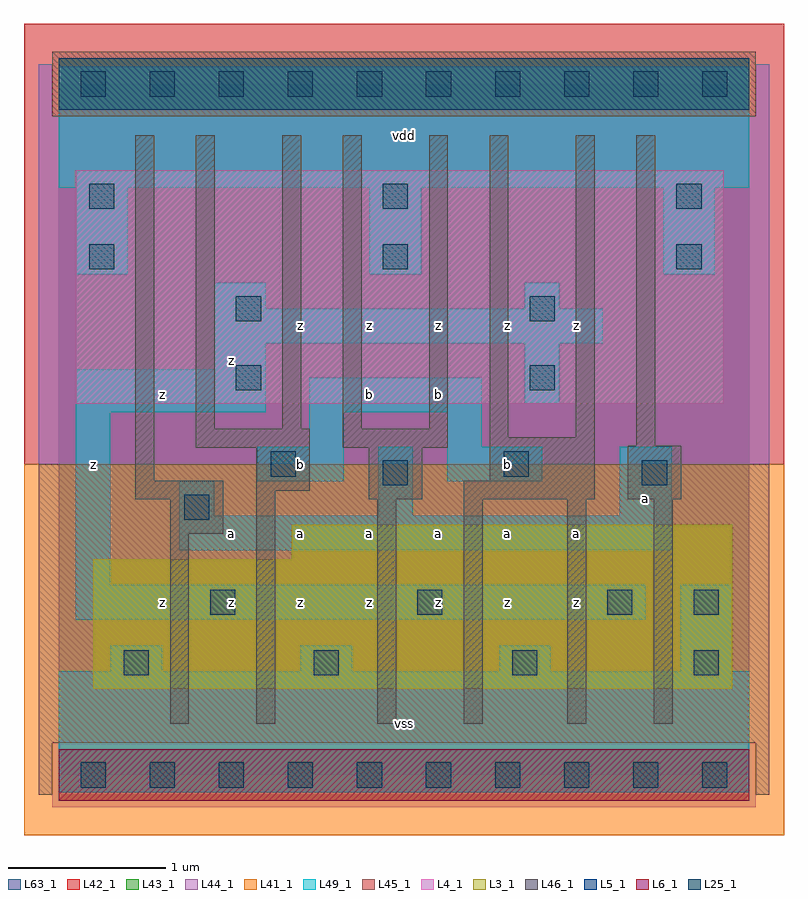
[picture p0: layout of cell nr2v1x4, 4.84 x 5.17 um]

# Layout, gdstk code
import gdstk
lib = gdstk.Library(unit=1e-6, precision=1e-09)
def R(c, l, rs):  # rectangles x0, y0, x1, y1
    for r in rs: c.add(gdstk.rectangle(r[:2], r[2:], *l))
def A(c, l, x, y, w, h, nx, ny, dx, dy):  # array of equal rectangles
    R(c, l, [(x+i*dx, y+j*dy, x+i*dx+w, y+j*dy+h) for i in range(nx) for j in range(ny)])
L3_1 = (3, 1)
L4_1 = (4, 1)
L5_1 = (5, 1)
L6_1 = (6, 1)
L25_1 = (25, 1)
L41_1 = (41, 1)
L42_1 = (42, 1)
L43_1 = (43, 1)
L44_1 = (44, 1)
L45_1 = (45, 1)
L46_1 = (46, 1)
L49_1 = (49, 1)
L63_1 = (63, 1)

nr2v1x4 = lib.new_cell('nr2v1x4')
R(nr2v1x4, L3_1, [(0.22,0.55,4.29,1.375), (1.485,1.375,4.29,1.595)])
R(nr2v1x4, L4_1, [(0.11,2.365,4.235,3.85)])
R(nr2v1x4, L5_1, [(0,4.235,4.4,4.565)])
R(nr2v1x4, L6_1, [(0,-0.165,4.4,0.165)])
A(nr2v1x4, L25_1, 0.14, -0.08, 0.16, 0.16, 10, 2, 0.44, 4.4)
A(nr2v1x4, L25_1, 0.195, 3.22, 0.16, 0.16, 3, 2, 1.87, 0.385)
R(nr2v1x4, L25_1, [(0.415,0.635,0.575,0.795), (1.625,0.635,1.785,0.795), (2.89,0.635,3.05,0.795), (4.045,0.635,4.205,0.795), (0.965,1.02,1.125,1.18), (2.285,1.02,2.445,1.18), (3.495,1.02,3.655,1.18), (4.045,1.02,4.205,1.18), (0.8,1.625,0.96,1.785), (2.065,1.845,2.225,2.005), (3.715,1.845,3.875,2.005), (1.35,1.9,1.51,2.06), (2.835,1.9,2.995,2.06), (1.13,2.45,1.29,2.61), (3,2.45,3.16,2.61), (1.13,2.89,1.29,3.05), (3,2.89,3.16,3.05)])
R(nr2v1x4, L41_1, [(-0.22,-0.385,4.62,1.98)])
R(nr2v1x4, L42_1, [(-0.22,1.98,4.62,4.785)])
R(nr2v1x4, L43_1, [(0,-0.165,4.4,0.165), (0.22,0.55,4.29,1.375), (1.485,1.375,4.29,1.595), (0.11,2.365,4.235,3.85), (0,4.235,4.4,4.565)])
R(nr2v1x4, L44_1, [(-0.04,-0.205,4.44,0.205), (-0.125,1.98,4.525,4.195), (-0.125,4.195,-0.04,4.525), (4.44,4.195,4.525,4.525)])
R(nr2v1x4, L45_1, [(-0.125,-0.125,-0.04,0.205), (4.44,-0.125,4.525,0.205), (-0.125,0.205,4.525,1.98), (-0.04,4.195,4.44,4.605)])
R(nr2v1x4, L46_1, [(0.71,0.325,0.83,1.535), (1.26,0.325,1.38,1.81), (2.03,0.325,2.15,1.755), (2.58,0.325,2.7,1.755), (3.24,0.325,3.36,1.755), (3.79,0.325,3.91,1.755), (0.71,1.535,1.05,1.755), (0.49,1.755,1.05,1.875), (1.975,1.755,2.315,2.085), (2.58,1.755,3.415,1.875), (3.625,1.755,3.965,2.095), (1.26,1.81,1.6,2.085), (0.49,1.875,0.61,4.075), (2.745,1.875,3.415,2.15), (0.875,2.085,1.6,2.205), (1.81,2.085,2.48,2.205), (3.68,2.095,3.8,4.075), (2.745,2.15,2.865,4.075), (3.295,2.15,3.415,4.075), (0.875,2.205,0.995,4.075), (1.425,2.205,1.545,4.075), (1.81,2.205,1.93,4.075), (2.36,2.205,2.48,4.075)])
A(nr2v1x4, L49_1, 0.11, 3.19, 0.33, 0.55, 3, 1, 1.87, 0)
R(nr2v1x4, L49_1, [(0,-0.11,4.4,0.66), (0.33,0.66,0.66,0.825), (1.54,0.66,1.87,0.825), (2.805,0.66,3.135,0.825), (3.96,0.66,4.29,1.21), (0.11,0.99,3.74,1.21), (0.11,1.21,0.33,2.31), (0.77,1.43,3.905,1.65), (0.77,1.65,0.99,1.87), (2.035,1.65,2.255,2.09), (3.575,1.65,3.905,2.09), (1.265,1.87,1.815,2.09), (2.475,1.87,3.08,2.09), (1.595,2.09,1.815,2.31), (2.475,2.09,2.695,2.31), (0.11,2.31,1.32,2.585), (1.595,2.31,2.695,2.53), (2.97,2.365,3.19,2.75), (0.99,2.585,1.32,2.75), (0.99,2.75,3.465,2.97), (0.99,2.97,1.32,3.135), (2.97,2.97,3.19,3.135), (0,3.74,4.4,4.51)])
R(nr2v1x4, L63_1, [(0,0,4.4,4.4)])
nr2v1x4.add(gdstk.Label('z', (0.22,1.98), layer=49, texttype=1))
nr2v1x4.add(gdstk.Label('z', (0.66,1.1), layer=49, texttype=1))
nr2v1x4.add(gdstk.Label('z', (1.1,1.1), layer=49, texttype=1))
nr2v1x4.add(gdstk.Label('a', (1.1,1.54), layer=49, texttype=1))
nr2v1x4.add(gdstk.Label('z', (1.54,1.1), layer=49, texttype=1))
nr2v1x4.add(gdstk.Label('a', (1.54,1.54), layer=49, texttype=1))
nr2v1x4.add(gdstk.Label('z', (0.66,2.42), layer=49, texttype=1))
nr2v1x4.add(gdstk.Label('b', (1.54,1.98), layer=49, texttype=1))
nr2v1x4.add(gdstk.Label('z', (1.54,2.86), layer=49, texttype=1))
nr2v1x4.add(gdstk.Label('z', (1.1,2.64), layer=49, texttype=1))
nr2v1x4.add(gdstk.Label('vss', (2.2,0.33), layer=49, texttype=1))
nr2v1x4.add(gdstk.Label('z', (1.98,1.1), layer=49, texttype=1))
nr2v1x4.add(gdstk.Label('a', (1.98,1.54), layer=49, texttype=1))
nr2v1x4.add(gdstk.Label('z', (2.42,1.1), layer=49, texttype=1))
nr2v1x4.add(gdstk.Label('a', (2.42,1.54), layer=49, texttype=1))
nr2v1x4.add(gdstk.Label('b', (1.98,2.42), layer=49, texttype=1))
nr2v1x4.add(gdstk.Label('b', (2.42,2.42), layer=49, texttype=1))
nr2v1x4.add(gdstk.Label('z', (1.98,2.86), layer=49, texttype=1))
nr2v1x4.add(gdstk.Label('z', (2.42,2.86), layer=49, texttype=1))
nr2v1x4.add(gdstk.Label('vdd', (2.2,4.07), layer=49, texttype=1))
nr2v1x4.add(gdstk.Label('z', (2.86,1.1), layer=49, texttype=1))
nr2v1x4.add(gdstk.Label('a', (2.86,1.54), layer=49, texttype=1))
nr2v1x4.add(gdstk.Label('z', (3.3,1.1), layer=49, texttype=1))
nr2v1x4.add(gdstk.Label('a', (3.3,1.54), layer=49, texttype=1))
nr2v1x4.add(gdstk.Label('b', (2.86,1.98), layer=49, texttype=1))
nr2v1x4.add(gdstk.Label('z', (3.3,2.86), layer=49, texttype=1))
nr2v1x4.add(gdstk.Label('z', (2.86,2.86), layer=49, texttype=1))
nr2v1x4.add(gdstk.Label('a', (3.74,1.76), layer=49, texttype=1))

lib.write_gds('nr2v1x4.gds')
